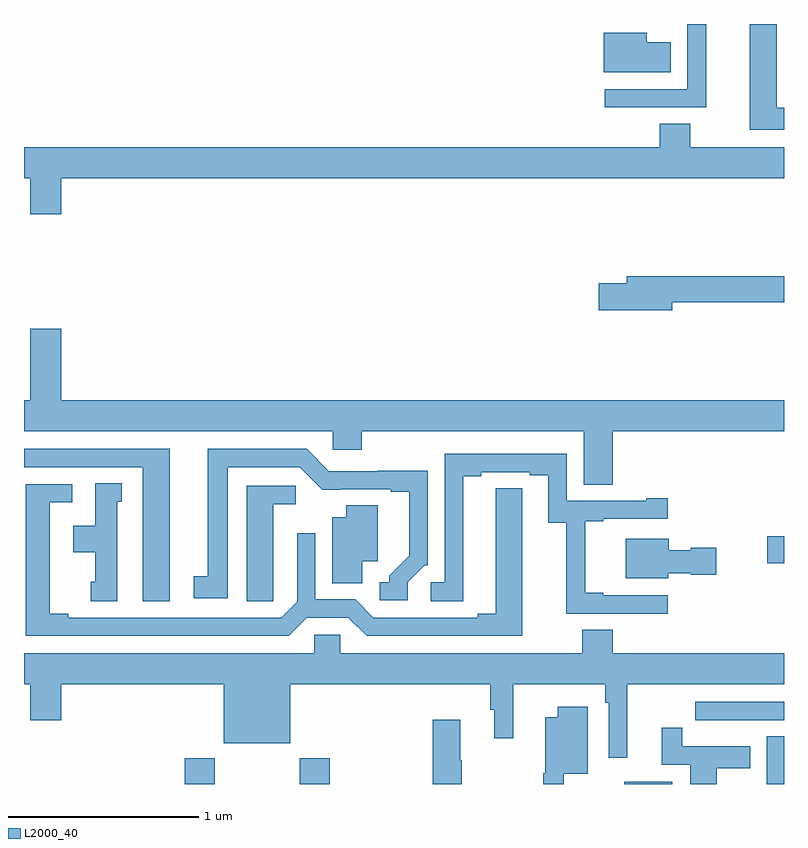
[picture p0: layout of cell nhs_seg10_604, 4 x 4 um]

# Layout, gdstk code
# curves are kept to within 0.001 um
import gdstk
lib = gdstk.Library(unit=1e-6, precision=1e-09)
def R(c, l, rs):  # rectangles x0, y0, x1, y1
    for r in rs: c.add(gdstk.rectangle(r[:2], r[2:], *l))
def P(c, l, *ps):  # polygons
    for p in ps: c.add(gdstk.Polygon(p, *l))
L2000_40 = (2000, 40)

nhs_seg10_604 = lib.new_cell('nhs_seg10_604')
R(nhs_seg10_604, L2000_40, [(141.845,1258.5,142.005,1258.636), (142.45,1258.5,142.61,1258.636), (144.158,1258.5,144.412,1258.513), (144.908,1258.5,145,1258.751), (144.912,1259.662,145,1259.804)])
P(nhs_seg10_604, L2000_40, [(144.591,1262.5),(144.492,1262.5),(144.492,1262.157),(144.057,1262.157),(144.057,1262.061),(144.591,1262.061)],
  [(145,1262.06),(144.961,1262.06),(144.961,1262.5),(144.821,1262.5),(144.821,1261.944),(145,1261.944)],
  [(144.403,1262.404),(144.277,1262.404),(144.277,1262.455),(144.05,1262.455),(144.05,1262.246),(144.403,1262.246)],
  [(141.196,1261.688),(145,1261.688),(145,1261.852),(144.507,1261.852),(144.507,1261.976),(144.347,1261.976),(144.347,1261.852),(141,1261.852),(141,1261.688),(141.032,1261.688),(141.032,1261.5),(141.196,1261.5)],
  [(144.412,1261.036),(145,1261.036),(145,1261.172),(144.173,1261.172),(144.173,1261.136),(144.024,1261.136),(144.024,1260.994),(144.412,1260.994)],
  [(144.098,1260.356),(145,1260.356),(145,1260.52),(141.196,1260.52),(141.196,1260.895),(141.032,1260.895),(141.032,1260.52),(141,1260.52),(141,1260.356),(142.626,1260.356),(142.626,1260.258),(142.778,1260.258),(142.778,1260.356),(143.945,1260.356),(143.945,1260.076),(144.098,1260.076)],
  [(143.019,1259.562),(143.109,1259.652),(143.124,1259.652),(143.124,1260.149),(142.861,1260.149),(142.861,1260.147),(142.605,1260.147),(142.488,1260.264),(141.968,1260.264),(141.968,1259.594),(141.894,1259.594),(141.894,1259.478),(142.072,1259.478),(142.072,1260.168),(142.452,1260.168),(142.57,1260.05),(142.931,1260.051),(142.931,1260.039),(143.027,1260.039),(143.027,1259.702),(142.922,1259.597),(142.922,1259.562),(142.872,1259.562),(142.872,1259.466),(143.019,1259.466)],
  [(141.766,1260.264),(141,1260.264),(141,1260.168),(141.626,1260.168),(141.626,1259.463),(141.766,1259.463)],
  [(144.388,1259.493),(144.049,1259.493),(144.049,1259.506),(143.954,1259.506),(143.954,1259.883),(144.049,1259.883),(144.049,1259.895),(144.388,1259.895),(144.388,1260.004),(144.275,1260.004),(144.275,1259.991),(143.856,1259.991),(143.856,1260.237),(143.214,1260.237),(143.214,1259.562),(143.142,1259.562),(143.142,1259.461),(143.311,1259.461),(143.311,1260.121),(143.407,1260.121),(143.407,1260.141),(143.663,1260.141),(143.663,1260.126),(143.759,1260.126),(143.759,1259.875),(143.854,1259.875),(143.854,1259.397),(144.388,1259.397)],
  [(141.49,1259.985),(141.514,1259.985),(141.514,1260.083),(141.374,1260.083),(141.374,1259.86),(141.26,1259.86),(141.26,1259.72),(141.374,1259.72),(141.374,1259.565),(141.35,1259.565),(141.35,1259.463),(141.49,1259.463)],
  [(142.489,1259.376),(142.707,1259.376),(142.803,1259.28),(143.623,1259.28),(143.622,1260.056),(143.483,1260.056),(143.483,1259.396),(143.387,1259.396),(143.387,1259.376),(142.839,1259.376),(142.743,1259.472),(142.533,1259.472),(142.533,1259.821),(142.437,1259.821),(142.437,1259.46),(142.353,1259.376),(141.232,1259.376),(141.232,1259.396),(141.136,1259.396),(141.136,1259.982),(141.253,1259.982),(141.253,1260.078),(141.008,1260.078),(141.008,1259.28),(142.393,1259.28)],
  [(142.311,1259.569),(142.312,1259.569),(142.312,1259.972),(142.429,1259.972),(142.429,1260.069),(142.172,1260.069),(142.172,1259.461),(142.311,1259.461)],
  [(142.78,1259.672),(142.861,1259.672),(142.861,1259.966),(142.697,1259.966),(142.697,1259.905),(142.622,1259.905),(142.622,1259.557),(142.78,1259.557)],
  [(144.39,1259.609),(144.51,1259.609),(144.51,1259.602),(144.643,1259.602),(144.643,1259.744),(144.51,1259.744),(144.51,1259.731),(144.394,1259.731),(144.394,1259.791),(144.167,1259.791),(144.167,1259.582),(144.39,1259.582)],
  [(144.176,1259.024),(145,1259.024),(145,1259.188),(144.098,1259.188),(144.098,1259.312),(143.938,1259.312),(143.938,1259.188),(142.665,1259.188),(142.665,1259.286),(142.527,1259.286),(142.527,1259.188),(141,1259.188),(141,1259.024),(141.032,1259.024),(141.032,1258.836),(141.196,1258.836),(141.196,1259.024),(142.052,1259.024),(142.052,1258.715),(142.402,1258.715),(142.402,1259.024),(143.455,1259.024),(143.455,1258.89),(143.474,1258.89),(143.474,1258.74),(143.574,1258.74),(143.574,1259.024),(144.058,1259.024),(144.058,1258.928),(144.078,1258.928),(144.078,1258.638),(144.176,1258.638)],
  [(144.812,1258.836),(145,1258.836),(145,1258.932),(144.534,1258.932),(144.534,1258.836),(144.646,1258.836),(144.646,1258.835),(144.812,1258.835)],
  [(143.841,1258.553),(143.968,1258.553),(143.968,1258.906),(143.81,1258.906),(143.81,1258.852),(143.744,1258.852),(143.744,1258.557),(143.733,1258.557),(143.733,1258.5),(143.841,1258.5)],
  [(143.304,1258.624),(143.296,1258.624),(143.296,1258.837),(143.15,1258.837),(143.15,1258.5),(143.304,1258.5)],
  [(144.646,1258.582),(144.823,1258.582),(144.823,1258.698),(144.464,1258.698),(144.464,1258.795),(144.356,1258.795),(144.356,1258.602),(144.506,1258.602),(144.506,1258.5),(144.646,1258.5)])

lib.write_gds('nhs_seg10_604.gds')
